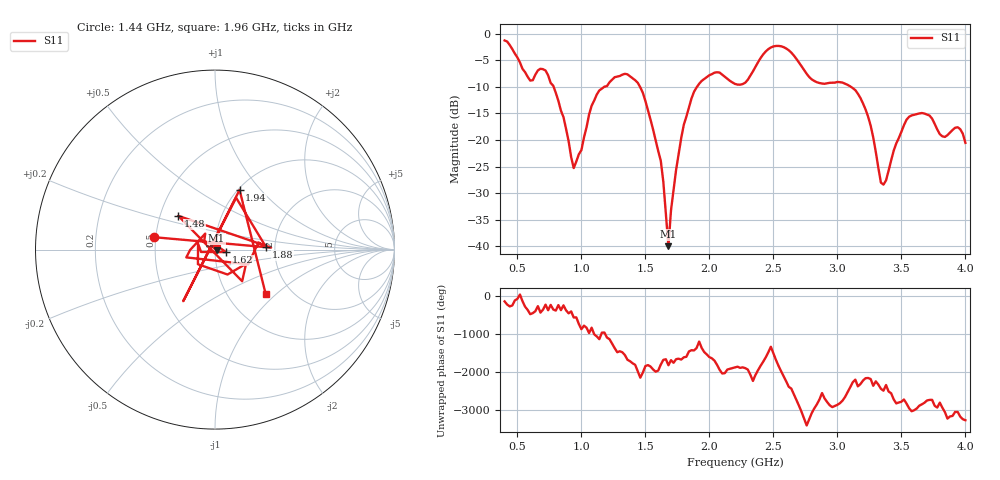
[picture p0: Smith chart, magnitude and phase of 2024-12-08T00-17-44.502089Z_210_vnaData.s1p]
!Created with skrf (http://scikit-rf.org).
# Hz S RI R 50.0
!freq ReS11 ImS11
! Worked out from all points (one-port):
!   181 points, 400 MHz to 4 GHz, reference 50 ohm
!   lowest |S11| = -40.0 dB at 1.68 GHz (marker M1), VSWR 1.02, Z = 50.9 - j0.495 ohm
!   |S11| at or under -10 dB: 782.9 MHz to 1.179 GHz (395.8 MHz wide, 40.4 % of centre); 1.458 GHz to 1.903 GHz (445.6 MHz wide, 26.5 % of centre); 3.105 GHz to end of sweep
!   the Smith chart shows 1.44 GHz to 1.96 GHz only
!   S11 on the Smith chart (normalised r, x): 1.44 GHz: 0.49, +0.08; 1.48 GHz: 0.62, +0.25; 1.62 GHz: 1.13, -0.03; 1.88 GHz: 1.79, +0.06; 1.94 GHz: 1.02, +0.78; 1.96 GHz: 1.49, -0.86
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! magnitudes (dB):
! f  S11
! 400 MHz  -1.3
! 600 MHz  -8.8
! 720 MHz  -6.9
! 860 MHz  -15.7
! 940 MHz  -25.3
! 1.12 GHz  -11.5
! 1.3 GHz  -8.0
! 1.44 GHz  -9.2
! 1.48 GHz  -11.1
! 1.62 GHz  -23.9
! 1.68 GHz  -40.0
! 1.7 GHz  -33.2
! 1.76 GHz  -22.6
! 1.88 GHz  -10.9
! 1.94 GHz  -8.9
! 1.96 GHz  -8.5
! 2.2 GHz  -9.5
! 2.48 GHz  -2.6
! 2.66 GHz  -4.1
! 2.82 GHz  -8.9
! 3.1 GHz  -9.9
! 3.24 GHz  -15.6
! 3.36 GHz  -28.4
! 3.56 GHz  -15.6
! 3.72 GHz  -15.4
! 3.84 GHz  -19.4
! 3.94 GHz  -17.6
! 4 GHz  -20.5
